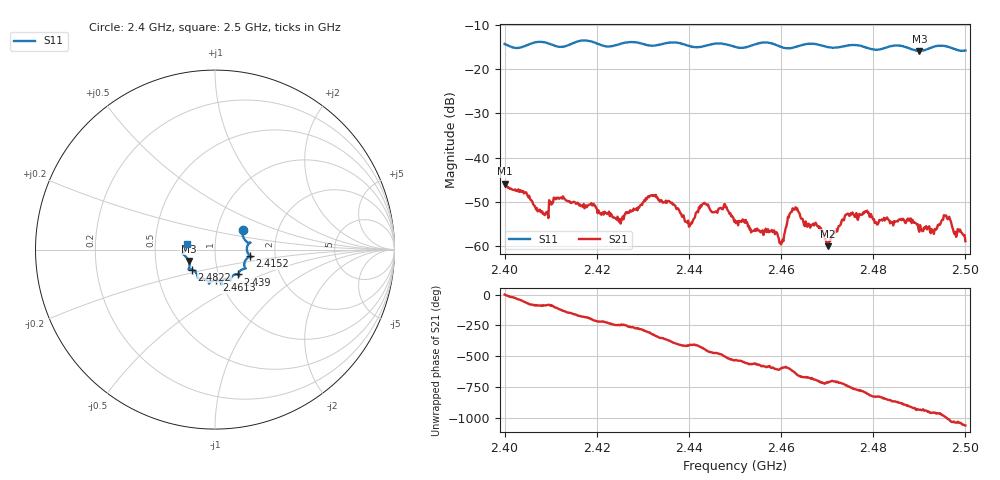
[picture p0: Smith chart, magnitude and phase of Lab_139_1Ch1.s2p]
# Hz S RI R 50
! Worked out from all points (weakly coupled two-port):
!   601 points, 2.4 GHz to 2.5 GHz, reference 50 ohm
!   highest |S21| = -45.84 dB at 2.4 GHz (marker M1); lowest = -59.9 dB at 2.4702 GHz (marker M2)
!   lowest |S11| = -15.9 dB at 2.49 GHz (marker M3), VSWR 1.38, Z = 37 - j4.82 ohm
!   |S11| at or under -10 dB: start of sweep to end of sweep
!   S12 and S22 are empty: the file has one direction only
!   S11 on the Smith chart (normalised r, x): 2.4 GHz: 1.33, +0.31; 2.4152 GHz: 1.48, -0.11; 2.439 GHz: 1.24, -0.36; 2.4613 GHz: 0.96, -0.34; 2.4822 GHz: 0.76, -0.17; 2.5 GHz: 0.73, +0.05
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2.4e9  0.1557 0.111  0.00511 3.65e-05  0 0  0 0
2.408333e9  0.1972 0.0394  -5.17e-05 -0.00232  0 0  0 0
2.411167e9  0.1796 0.0184  -0.000931 -0.00328  0 0  0 0
2.415167e9  0.195 -0.0364  -0.00294 -0.00116  0 0  0 0
2.416667e9  0.2045 -0.0423  -0.00284 -0.000113  0 0  0 0
2.424833e9  0.1648 -0.0948  -0.000736 0.00175  0 0  0 0
2.433333e9  0.1319 -0.132  0.00325 0.000823  0 0  0 0
2.439e9  0.1283 -0.1383  0.00115 -0.00169  0 0  0 0
2.4405e9  0.1145 -0.1372  0.00126 -0.00135  0 0  0 0
2.443333e9  0.089 -0.1578  0.000455 -0.00306  0 0  0 0
2.45e9  0.0685 -0.1638  -0.00196 -0.000215  0 0  0 0
2.46e9  0.0248 -0.1754  -0.000549 0.000897  0 0  0 0
2.461333e9  0.00707 -0.1706  -0.00113 0.0015  0 0  0 0
2.463e9  -0.0168 -0.1753  0.000124 0.00261  0 0  0 0
2.466667e9  -0.0336 -0.1898  0.00126 0.0012  0 0  0 0
2.470167e9  -0.0445 -0.1709  0.001 8.4e-05  0 0  0 0
2.474333e9  -0.0883 -0.1608  0.00215 -0.000811  0 0  0 0
2.482167e9  -0.1282 -0.1117  -0.00111 -0.00165  0 0  0 0
2.483333e9  -0.1395 -0.1102  -0.00141 -0.0014  0 0  0 0
2.49e9  -0.1466 -0.0635  -0.00119 0.000854  0 0  0 0
2.495833e9  -0.1792 -0.0188  0.000321 0.00221  0 0  0 0
2.5e9  -0.158 0.0337  0.00109 0.000341  0 0  0 0
